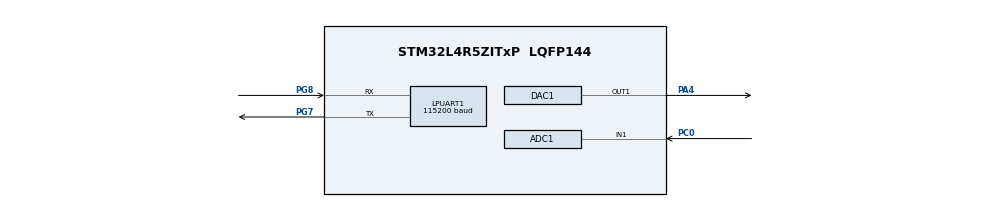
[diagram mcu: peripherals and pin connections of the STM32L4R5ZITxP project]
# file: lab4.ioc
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ADC1.Channel-1\#ChannelRegularConversion=ADC_CHANNEL_1
ADC1.NbrOfConversionFlag=1
ADC1.OffsetNumber-1\#ChannelRegularConversion=ADC_OFFSET_NONE
ADC1.Rank-1\#ChannelRegularConversion=1
ADC1.SamplingTime-1\#ChannelRegularConversion=ADC_SAMPLETIME_2CYCLES_5
ADC1.master=1
DAC1.DAC_Trigger-DAC_OUT1_ExtAndInt=DAC_TRIGGER_T6_TRGO
Dma.DAC1_CH1.0.Direction=DMA_MEMORY_TO_PERIPH
Dma.DAC1_CH1.0.EventEnable=DISABLE
Dma.DAC1_CH1.0.Instance=DMA1_Channel1
Dma.DAC1_CH1.0.MemDataAlignment=DMA_MDATAALIGN_HALFWORD
Dma.DAC1_CH1.0.MemInc=DMA_MINC_ENABLE
Dma.DAC1_CH1.0.Mode=DMA_CIRCULAR
Dma.DAC1_CH1.0.PeriphDataAlignment=DMA_PDATAALIGN_HALFWORD
Dma.DAC1_CH1.0.PeriphInc=DMA_PINC_DISABLE
Dma.DAC1_CH1.0.Polarity=HAL_DMAMUX_REQUEST_GEN_RISING
Dma.DAC1_CH1.0.Priority=DMA_PRIORITY_LOW
Dma.DAC1_CH1.0.RequestNumber=1
Dma.DAC1_CH1.0.SignalID=NONE
Dma.DAC1_CH1.0.SyncEnable=DISABLE
Dma.DAC1_CH1.0.SyncPolarity=HAL_DMAMUX_SYNC_NO_EVENT
Dma.DAC1_CH1.0.SyncRequestNumber=1
Dma.DAC1_CH1.0.SyncSignalID=NONE
Dma.Request0=DAC1_CH1
LPUART1.BaudRate=115200
LPUART1.WordLength=UART_WORDLENGTH_8B
Mcu.Family=STM32L4
Mcu.Name=STM32L4R5ZITxP
Mcu.Package=LQFP144
NVIC.DMA1_Channel1_IRQn=true\:0\:0\:false\:false\:true\:false\:true\:true
NVIC.PriorityGroup=NVIC_PRIORITYGROUP_4
PA0.GPIO_ModeDefaultPP=GPIO_MODE_AF_PP
PA0.Signal=S_TIM2_CH1
PA1.Signal=ADCx_IN6
PA10.Signal=USB_OTG_FS_ID
PA13\ (JTMS/SWDIO).Signal=SYS_JTMS-SWDIO
PA14\ (JTCK/SWCLK).Signal=SYS_JTCK-SWCLK
PA3.Signal=ADCx_IN8
PA4.Signal=COMP_DAC11_group
PA5.Signal=SPI1_SCK
PA6.Signal=SPI1_MISO
PA7.Signal=SPI1_MOSI
PA8.Signal=USB_OTG_FS_SOF
PA9.Signal=USB_OTG_FS_VBUS
PB0.Signal=S_TIM3_CH3
PB1.Signal=ADCx_IN16
PB10.Signal=S_TIM2_CH3
PB12.Signal=SAI2_FS_A
PB13.Signal=SAI2_SCK_A
PB14.Signal=S_TIM15_CH1
PB15.Signal=SAI2_SD_A
PB2.Signal=COMP1_INP
PB3\ (JTDO/TRACESWO).Signal=SPI3_SCK
PB4\ (NJTRST).Signal=SPI3_MISO
PB5.Signal=SPI3_MOSI
PB6.Signal=COMP2_INP
PB8.Signal=I2C1_SCL
PB9.Signal=I2C1_SDA
PC0.GPIO_Mode=GPIO_MODE_ANALOG_ADC_CONTROL
PC0.GPIO_PuPd=GPIO_NOPULL
PC0.Signal=ADCx_IN1
PC1.Signal=ADCx_IN2
PC10.Signal=SDMMC1_D2
PC11.Signal=SDMMC1_D3
PC12.Signal=SDMMC1_CK
PC13.Signal=SYS_WKUP2
PC14-OSC32_IN\ (PC14).Signal=RCC_OSC32_IN
PC15-OSC32_OUT\ (PC15).Signal=RCC_OSC32_OUT
PC2.Signal=ADCx_IN3
PC3.Signal=ADCx_IN4
PC4.Signal=ADCx_IN13
PC5.Signal=ADCx_IN14
PC6.Signal=SAI2_MCLK_A
PC7.Signal=S_TIM3_CH2
PC8.Signal=SDMMC1_D0
PC9.Signal=SDMMC1_D1
PD0.Signal=CAN1_RX
PD14.Signal=S_TIM4_CH3
PD15.Signal=S_TIM4_CH4
PD2.Signal=SDMMC1_CMD
PD3.Signal=USART2_CTS
PD4.Signal=USART2_RTS
PD5.Signal=USART2_TX
PD6.Signal=USART2_RX
PD8.Signal=USART3_TX
PD9.Signal=USART3_RX
PE0.Signal=S_TIM4_ETR
PE10.Signal=TIM1_CH2N
PE11.Signal=S_TIM1_CH2
PE12.Signal=TIM1_CH3N
PE13.Signal=S_TIM1_CH3
PE14.Signal=TIM1_BKIN2
PE15.Signal=TIM1_BKIN
PE2.Signal=SAI1_MCLK_A
PE3.Signal=SAI1_SD_B
PE7.Signal=S_TIM1_ETR
PE8.Signal=TIM1_CH1N
PE9.Signal=S_TIM1_CH1
PF0.Signal=I2C2_SDA
PF1.Signal=I2C2_SCL
PF2.Signal=I2C2_SMBA
PF7.Signal=SAI1_MCLK_B
PG5.GPIO_Mode=GPIO_MODE_AF_PP
PG5.GPIO_PuPd=GPIO_NOPULL
PG5.Signal=SPI1_NSS
PG7.Mode=Asynchronous
PG7.Signal=LPUART1_TX
PG8.Mode=Asynchronous
PG8.Signal=LPUART1_RX
PH0-OSC_IN\ (PH0).Signal=RCC_OSC_IN
PH1-OSC_OUT\ (PH1).Signal=RCC_OSC_OUT
ProjectManager.HeapSize=0x200
ProjectManager.StackSize=0x400
ProjectManager.TargetToolchain=STM32CubeIDE
RCC.HSE_VALUE=8000000
RCC.HSI48_VALUE=48000000
RCC.HSI_VALUE=16000000
RCC.LSE_VALUE=32768
RCC.MSI_VALUE=4000000
RCC.VCOOutputFreq_Value=32000000
SH.ADCx_IN1.0=ADC1_IN1,IN1-Single-Ended
SH.ADCx_IN13.0=ADC1_IN13
SH.ADCx_IN14.0=ADC1_IN14
SH.ADCx_IN16.0=ADC1_IN16
SH.ADCx_IN2.0=ADC1_IN2
SH.ADCx_IN3.0=ADC1_IN3
SH.ADCx_IN4.0=ADC1_IN4
SH.ADCx_IN6.0=ADC1_IN6
SH.ADCx_IN8.0=ADC1_IN8
SH.COMP_DAC11_group.0=DAC1_OUT1,DAC_OUT1_ExtAndInt
SH.S_TIM15_CH1.0=TIM15_CH1
SH.S_TIM1_CH1.0=TIM1_CH1
SH.S_TIM1_CH2.0=TIM1_CH2
SH.S_TIM1_CH3.0=TIM1_CH3
SH.S_TIM1_ETR.0=TIM1_ETR
SH.S_TIM2_CH1.0=TIM2_CH1
SH.S_TIM2_CH3.0=TIM2_CH3
SH.S_TIM3_CH2.0=TIM3_CH2
SH.S_TIM3_CH3.0=TIM3_CH3
SH.S_TIM4_CH3.0=TIM4_CH3
SH.S_TIM4_CH4.0=TIM4_CH4
SH.S_TIM4_ETR.0=TIM4_ETR
TIM6.AutoReloadPreload=TIM_AUTORELOAD_PRELOAD_ENABLE
TIM6.Period=118
TIM6.TIM_MasterOutputTrigger=TIM_TRGO_UPDATE
VP_TIM6_VS_ClockSourceINT.Mode=Enable_Timer
board=NUCLEO-L4R5ZI-P

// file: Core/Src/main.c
/* USER CODE BEGIN Header */
/**
  ******************************************************************************
  * @file           : main.c
  * @brief          : Main program body
  ******************************************************************************
  * @attention
  *
  * Copyright (c) 2025 STMicroelectronics.
  * All rights reserved.
  *
  * This software is licensed under terms that can be found in the LICENSE file
  * in the root directory of this software component.
  * If no LICENSE file comes with this software, it is provided AS-IS.
  *
  ******************************************************************************
  */
/* USER CODE END Header */
#include "main.h"
#include "adc.h"
#include "dac.h"
#include "dma.h"
#include "usart.h"
#include "tim.h"
#include "gpio.h"

/* USER CODE BEGIN PD */
// Configuration
#define LOW_NOTE 200              // Minimum ADC value
#define HIGH_NOTE 1000
#define SINE_SAMPLES 128         // Number of samples in lookup table
#define TARGET_FREQ 262          // Middle C frequency in Hz

// Pre-calculated 128-sample sine wave lookup table (12-bit, 0-4095 range)
const uint16_t sineTable[SINE_SAMPLES] = {
    2048, 2148, 2248, 2348, 2447, 2545, 2642, 2737,
    2831, 2923, 3013, 3100, 3185, 3267, 3346, 3423,
    3495, 3565, 3630, 3692, 3750, 3804, 3853, 3898,
    3939, 3975, 4007, 4034, 4056, 4073, 4085, 4093,
    4095, 4093, 4085, 4073, 4056, 4034, 4007, 3975,
    3939, 3898, 3853, 3804, 3750, 3692, 3630, 3565,
    3495, 3423, 3346, 3267, 3185, 3100, 3013, 2923,
    2831, 2737, 2642, 2545, 2447, 2348, 2248, 2148,
    2048, 1947, 1847, 1747, 1648, 1550, 1453, 1358,
    1264, 1172, 1082,  995,  910,  828,  749,  672,
     600,  530,  465,  403,  345,  291,  242,  197,
     156,  120,   88,   61,   39,   22,   10,    2,
       0,    2,   10,   22,   39,   61,   88,  120,
     156,  197,  242,  291,  345,  403,  465,  530,
     600,  672,  749,  828,  910,  995, 1082, 1172,
    1264, 1358, 1453, 1550, 1648, 1747, 1847, 1947
};
/* USER CODE END PD */

void SystemClock_Config(void);
/* USER CODE BEGIN PFP */
void start_sine_wave(void);
void change_note(uint16_t frequency);
uint16_t read_ADC(void);
uint16_t adc_to_frequency(uint16_t adc_value);

/* USER CODE END PFP */

int main(void)
{

  /* USER CODE BEGIN 1 */
  printf("Reading DAC and ADC Value...\r\n");
  uint32_t desired_voltage = 0;

  /* USER CODE END 1 */

  /* MCU Configuration--------------------------------------------------------*/

  /* Reset of all peripherals, Initializes the Flash interface and the Systick. */
  HAL_Init();

  /* USER CODE BEGIN Init */
  uint32_t dac_val;
  float dac_voltage, adc_voltage;
  /* USER CODE END Init */

  /* Configure the system clock */
  SystemClock_Config();

  /* Initialize all configured peripherals */
  MX_GPIO_Init();
  MX_DMA_Init();
  MX_LPUART1_UART_Init();
  MX_ADC1_Init();
  MX_DAC1_Init();
  MX_TIM6_Init();
  /* USER CODE BEGIN 2 */
    start_sine_wave();
    uint32_t adc_value;
    uint16_t frequency;
  /* USER CODE END 2 */

  /* Infinite loop */
  while (1)
  {
      // Read light intensity from photodiode via ADC
      adc_value = read_ADC();
      // Map ADC reading to frequency (adjust range as needed)
      frequency = adc_to_frequency(adc_value);
      // Update the sine wave frequency to effectively change the note played
      change_note(frequency);

      HAL_Delay(50);
  }
}

void SystemClock_Config(void)
{
  RCC_OscInitTypeDef RCC_OscInitStruct = {0};
  RCC_ClkInitTypeDef RCC_ClkInitStruct = {0};

  /** Configure the main internal regulator output voltage
  */
  if (HAL_PWREx_ControlVoltageScaling(PWR_REGULATOR_VOLTAGE_SCALE1) != HAL_OK)
  {
    Error_Handler();
  }

  /** Initializes the RCC Oscillators according to the specified parameters
  * in the RCC_OscInitTypeDef structure.
  */
  RCC_OscInitStruct.OscillatorType = RCC_OSCILLATORTYPE_MSI;
  RCC_OscInitStruct.MSIState = RCC_MSI_ON;
  RCC_OscInitStruct.MSICalibrationValue = 0;
  RCC_OscInitStruct.MSIClockRange = RCC_MSIRANGE_6;
  RCC_OscInitStruct.PLL.PLLState = RCC_PLL_NONE;
  if (HAL_RCC_OscConfig(&RCC_OscInitStruct) != HAL_OK)
  {
    Error_Handler();
  }

  /** Initializes the CPU, AHB and APB buses clocks
  */
  RCC_ClkInitStruct.ClockType = RCC_CLOCKTYPE_HCLK|RCC_CLOCKTYPE_SYSCLK
                              |RCC_CLOCKTYPE_PCLK1|RCC_CLOCKTYPE_PCLK2;
  RCC_ClkInitStruct.SYSCLKSource = RCC_SYSCLKSOURCE_MSI;
  RCC_ClkInitStruct.AHBCLKDivider = RCC_SYSCLK_DIV1;
  RCC_ClkInitStruct.APB1CLKDivider = RCC_HCLK_DIV1;
  RCC_ClkInitStruct.APB2CLKDivider = RCC_HCLK_DIV1;

  if (HAL_RCC_ClockConfig(&RCC_ClkInitStruct, FLASH_LATENCY_0) != HAL_OK)
  {
    Error_Handler();
  }
}

/* USER CODE BEGIN 4 */
//Neded for printf to work over UART
int __io_putchar(int ch)
{
    HAL_UART_Transmit(&hlpuart1, (uint8_t *)&ch, 1, 10);
    return ch;
}

void start_sine_wave(void)
{
    // Start DAC in DMA mode
    HAL_DAC_Start_DMA(&hdac1, DAC_CHANNEL_1, (uint32_t*)sineTable, SINE_SAMPLES, DAC_ALIGN_12B_R);

    // Start TIM6 which HAL already configured to trigger DAC
    HAL_TIM_Base_Start(&htim6);
}
void stop_sine_wave(void)
{
    // Stop DAC DMA
    HAL_DAC_Stop_DMA(&hdac1, DAC_CHANNEL_1);

    // Stop TIM6
    HAL_TIM_Base_Stop(&htim6);
}

void change_note(uint16_t frequency){
    uint32_t timer_freq = frequency * SINE_SAMPLES;
    uint32_t sys_clock = HAL_RCC_GetSysClockFreq();
    uint32_t period = (sys_clock / timer_freq) - 1;

    // Stop timer
    HAL_TIM_Base_Stop(&htim6);

    // Update period (AutoReload Register)
    __HAL_TIM_SET_AUTORELOAD(&htim6, period);

    // Restart timer
    HAL_TIM_Base_Start(&htim6);
}

uint16_t read_ADC(void){
    HAL_ADC_Start(&hadc1);
    HAL_ADC_PollForConversion(&hadc1, HAL_MAX_DELAY);
    uint32_t adc_value = HAL_ADC_GetValue(&hadc1);
    return adc_value;
}

uint16_t adc_to_frequency(uint16_t adc_value){
    // Map ADC value (0-4095) to frequency range (LOW_NOTE to HIGH_NOTE)
    return (LOW_NOTE + ((adc_value / 4095.0f) * ( HIGH_NOTE - LOW_NOTE)));
}
/* USER CODE END 4 */

void Error_Handler(void)
{
  __disable_irq();
  while (1)
  {
  }
}
